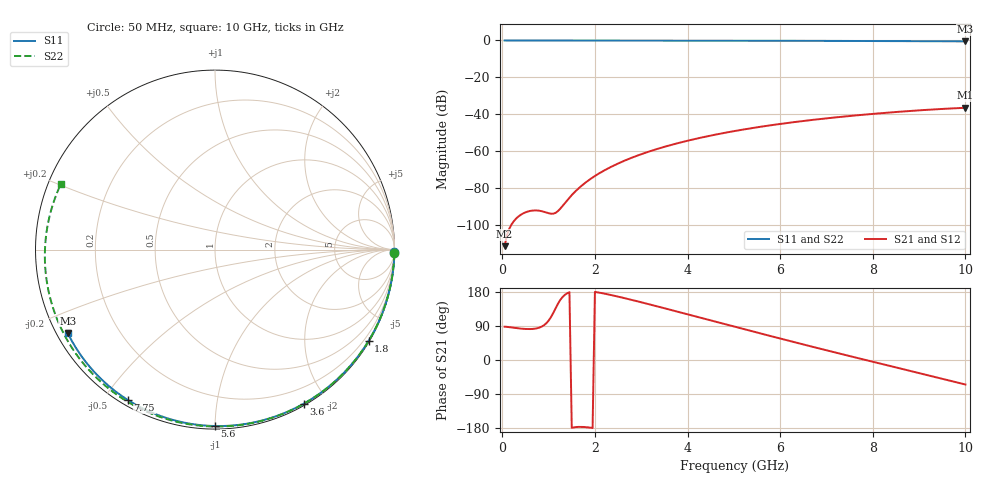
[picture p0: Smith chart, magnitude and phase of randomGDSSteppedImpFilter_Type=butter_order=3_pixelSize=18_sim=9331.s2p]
! freq	dB(S11)	phase(S11)	dB(S12)	phase(S12)
!  dB(S21)	phase(S21)	dB(S22)	phase(S22)
!S-par simulation data
#  GHz  S  DB  R 50
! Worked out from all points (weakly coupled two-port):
!   200 points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, 50 MHz to 10 GHz, reference 50 ohm
!   highest |S21| = -36.45 dB at 10 GHz (marker M1); lowest = -111.4 dB at 50 MHz (marker M2)
!   lowest |S11| = -0.5 dB at 10 GHz (marker M3), VSWR 34.22, Z = 1.56 - j13.2 ohm
!   |S11| at or under -10 dB: nowhere
!   |S22| runs from -0.6 to 0.0 dB; largest |S21 - S12| = 0
!   S11 on the Smith chart (normalised r, x): 50 MHz: open; 1.8 GHz: 0.03, -3.63; 3.6 GHz: 0.02, -1.73; 5.6 GHz: 0.02, -1.00; 7.75 GHz: 0.02, -0.58; 10 GHz: 0.03, -0.26
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0.05  -0.00 -0.9  -111.37 87.9  -111.37 87.9  -0.00 -1.2
0.45  -0.01 -7.8  -93.64 82.3  -93.64 82.3  -0.01 -10.5
0.85  -0.02 -14.7  -92.42 88.1  -92.42 88.1  -0.03 -19.8
1.25  -0.03 -21.5  -91.13 158.1  -91.13 158.1  -0.04 -29.0
1.65  -0.04 -28.2  -80.02 -176.5  -80.02 -176.5  -0.05 -38.1
1.75  -0.04 -29.9  -77.88 -176.7  -77.88 -176.7  -0.05 -40.3
1.8  -0.04 -30.8  -76.89 -177.1  -76.89 -177.1  -0.05 -41.4
2.1  -0.05 -35.8  -71.83 177.6  -71.83 177.6  -0.06 -48.1
2.5  -0.05 -42.3  -66.62 167.3  -66.62 167.3  -0.07 -56.8
2.9  -0.06 -48.8  -62.50 155.4  -62.50 155.4  -0.08 -65.3
3.4  -0.08 -56.8  -58.32 139.8  -58.32 139.8  -0.10 -75.8
3.6  -0.08 -60.0  -56.88 133.5  -56.88 133.5  -0.11 -79.9
4.3  -0.10 -70.8  -52.56 111.0  -52.56 111.0  -0.13 -93.9
5.05  -0.13 -82.1  -48.89 86.9  -48.89 86.9  -0.17 -108.5
5.6  -0.15 -90.1  -46.64 69.3  -46.64 69.3  -0.19 -118.9
6.15  -0.18 -97.9  -44.70 52.0  -44.70 52.0  -0.23 -129.1
6.7  -0.21 -105.6  -43.00 34.9  -43.00 34.9  -0.27 -139.2
7.25  -0.24 -113.2  -41.51 18.0  -41.51 18.0  -0.31 -149.4
7.75  -0.28 -120.0  -40.31 2.9  -40.31 2.9  -0.35 -158.7
8.35  -0.33 -128.1  -39.03 -15.1  -39.03 -15.1  -0.41 -170.0
9.2  -0.41 -139.6  -37.51 -40.6  -37.51 -40.6  -0.51 173.4
10  -0.51 -150.4  -36.45 -64.7  -36.45 -64.7  -0.60 156.9
